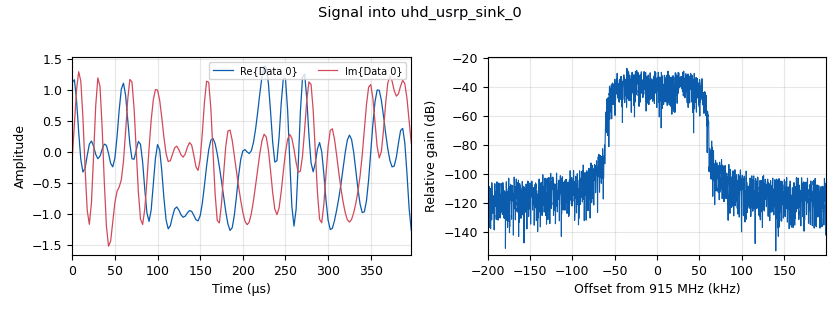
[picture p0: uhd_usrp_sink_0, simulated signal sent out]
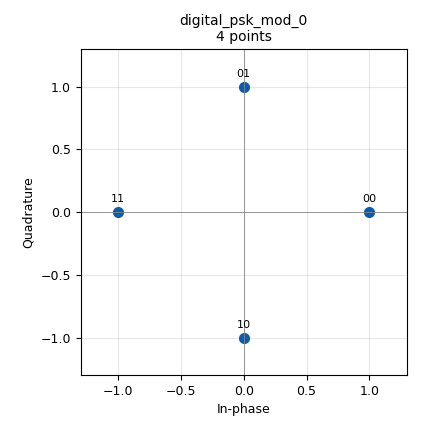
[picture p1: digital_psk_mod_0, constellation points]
<?xml version='1.0' encoding='utf-8'?>
<?grc format='1' created='3.7.11'?>
<flow_graph>
<block>
<key>options</key>
<param><key>id</key><value>energy_detector</value></param>
<param><key>generate_options</key><value>qt_gui</value></param>
</block>
<block>
<key>variable</key>
<param><key>id</key><value>addr_rx</value></param>
<param><key>value</key><value>"addr=192.168.10.3"</value></param>
</block>
<block>
<key>variable</key>
<param><key>id</key><value>addr_tx</value></param>
<param><key>value</key><value>"addr=192.168.10.3"</value></param>
</block>
<block>
<key>variable_qtgui_range</key>
<param><key>id</key><value>bin_size</value></param>
<param><key>value</key><value>10</value></param>
<param><key>label</key><value>Bin</value></param>
<param><key>orient</key><value>Qt.Horizontal</value></param>
<param><key>start</key><value>3</value></param>
<param><key>step</key><value>1</value></param>
<param><key>stop</key><value>50</value></param>
<param><key>rangeType</key><value>int</value></param>
</block>
<block>
<key>variable</key>
<param><key>id</key><value>cent</value></param>
<param><key>value</key><value>915e6</value></param>
</block>
<block>
<key>variable_qtgui_range</key>
<param><key>id</key><value>freq</value></param>
<param><key>value</key><value>cent</value></param>
<param><key>label</key><value>Carrier Frequency</value></param>
<param><key>orient</key><value>Qt.Horizontal</value></param>
<param><key>start</key><value>cent-0.5*samp_rate</value></param>
<param><key>step</key><value>samp_rate/200</value></param>
<param><key>stop</key><value>cent+0.5*samp_rate</value></param>
</block>
<block>
<key>variable</key>
<param><key>id</key><value>samp_rate</value></param>
<param><key>value</key><value>400000</value></param>
</block>
<block>
<key>variable</key>
<param><key>id</key><value>thres</value></param>
<param><key>value</key><value>-30</value></param>
</block>
<block>
<key>variable_qtgui_range</key>
<param><key>id</key><value>tx_gain</value></param>
<param><key>value</key><value>0</value></param>
<param><key>label</key><value>TX Gain</value></param>
<param><key>orient</key><value>Qt.Horizontal</value></param>
<param><key>start</key><value>0</value></param>
<param><key>step</key><value>0.1</value></param>
<param><key>stop</key><value>20</value></param>
</block>
<block>
<key>analog_random_source_x</key>
<param><key>id</key><value>analog_random_source_x_0</value></param>
<param><key>_enabled</key><value>0</value></param>
<param><key>max</key><value>256</value></param>
<param><key>min</key><value>0</value></param>
<param><key>num_samps</key><value>100</value></param>
<param><key>type</key><value>byte</value></param>
<param><key>repeat</key><value>True</value></param>
</block>
<block>
<key>blocks_message_strobe_random</key>
<param><key>id</key><value>blocks_message_strobe_random_0</value></param>
<param><key>dist</key><value>blocks.STROBE_POISSON</value></param>
<param><key>mean</key><value>1000</value></param>
<param><key>msg</key><value>pmt.intern("TEST")</value></param>
</block>
<block>
<key>blocks_pdu_to_tagged_stream</key>
<param><key>id</key><value>blocks_pdu_to_tagged_stream_0</value></param>
<param><key>type</key><value>byte</value></param>
<param><key>tag</key><value>packet_len</value></param>
</block>
<block>
<key>blocks_random_pdu</key>
<param><key>id</key><value>blocks_random_pdu_0</value></param>
<param><key>mask</key><value>0xFF</value></param>
<param><key>length_modulo</key><value>1</value></param>
<param><key>maxsize</key><value>50</value></param>
<param><key>minsize</key><value>10</value></param>
</block>
<block>
<key>blocks_tag_debug</key>
<param><key>id</key><value>blocks_tag_debug_0</value></param>
<param><key>type</key><value>float</value></param>
<param><key>filter</key><value>"sensing"</value></param>
<param><key>name</key><value>Energy abs</value></param>
</block>
<block>
<key>blocks_tag_debug</key>
<param><key>id</key><value>blocks_tag_debug_1</value></param>
<param><key>type</key><value>complex</value></param>
<param><key>filter</key><value>"state"</value></param>
<param><key>name</key><value>ED state</value></param>
</block>
<block>
<key>digital_psk_mod</key>
<param><key>id</key><value>digital_psk_mod_0</value></param>
<param><key>differential</key><value>False</value></param>
<param><key>excess_bw</key><value>0.22</value></param>
<param><key>mod_code</key><value>"gray"</value></param>
<param><key>constellation_points</key><value>4</value></param>
<param><key>samples_per_symbol</key><value>4</value></param>
</block>
<block>
<key>lsa_eng_det_cc</key>
<param><key>id</key><value>lsa_eng_det_cc_0</value></param>
<param><key>bin</key><value>bin_size</value></param>
<param><key>threshold</key><value>thres</value></param>
</block>
<block>
<key>qtgui_const_sink_x</key>
<param><key>id</key><value>qtgui_const_sink_x_0</value></param>
<param><key>gui_hint</key><value>rx_tab@0</value></param>
<param><key>size</key><value>1024</value></param>
<param><key>type</key><value>complex</value></param>
</block>
<block>
<key>qtgui_time_sink_x</key>
<param><key>id</key><value>qtgui_time_sink_x_0</value></param>
<param><key>gui_hint</key><value>rx_tab@1</value></param>
<param><key>color1</key><value>"blue"</value></param>
<param><key>label1</key><value></value></param>
<param><key>color2</key><value>"red"</value></param>
<param><key>label2</key><value></value></param>
<param><key>size</key><value>2048</value></param>
<param><key>srate</key><value>samp_rate</value></param>
<param><key>type</key><value>complex</value></param>
<param><key>ymax</key><value>0</value></param>
<param><key>ymin</key><value>-80</value></param>
</block>
<block>
<key>qtgui_tab_widget</key>
<param><key>id</key><value>rx_tab</value></param>
<param><key>label0</key><value>Constellation</value></param>
<param><key>label1</key><value>Energy</value></param>
<param><key>num_tabs</key><value>2</value></param>
</block>
<block>
<key>uhd_usrp_sink</key>
<param><key>id</key><value>uhd_usrp_sink_0</value></param>
<param><key>ant0</key><value>TX/RX</value></param>
<param><key>center_freq0</key><value>freq</value></param>
<param><key>norm_gain0</key><value>False</value></param>
<param><key>gain0</key><value>0</value></param>
<param><key>clock_rate</key><value>0.0</value></param>
<param><key>dev_addr</key><value>addr_tx</value></param>
<param><key>dev_args</key><value>""</value></param>
<param><key>type</key><value>fc32</value></param>
<param><key>clock_source0</key><value>internal</value></param>
<param><key>sd_spec0</key><value>A:0</value></param>
<param><key>samp_rate</key><value>samp_rate</value></param>
<param><key>hide_cmd_port</key><value>False</value></param>
<param><key>hide_lo_controls</key><value>True</value></param>
<param><key>sync</key><value></value></param>
<param><key>len_tag_name</key><value></value></param>
</block>
<block>
<key>uhd_usrp_source</key>
<param><key>id</key><value>uhd_usrp_source_0</value></param>
<param><key>ant0</key><value>RX2</value></param>
<param><key>center_freq0</key><value>freq</value></param>
<param><key>dc_offs_enb0</key><value>""</value></param>
<param><key>iq_imbal_enb0</key><value>""</value></param>
<param><key>norm_gain0</key><value>False</value></param>
<param><key>gain0</key><value>tx_gain</value></param>
<param><key>clock_rate</key><value>0.0</value></param>
<param><key>dev_addr</key><value>addr_rx</value></param>
<param><key>dev_args</key><value>""</value></param>
<param><key>sd_spec0</key><value>A:0</value></param>
<param><key>type</key><value>fc32</value></param>
<param><key>samp_rate</key><value>samp_rate</value></param>
<param><key>hide_cmd_port</key><value>False</value></param>
<param><key>hide_lo_controls</key><value>True</value></param>
<param><key>sync</key><value></value></param>
</block>
<connection><source_block_id>analog_random_source_x_0</source_block_id><sink_block_id>digital_psk_mod_0</sink_block_id><source_key>0</source_key><sink_key>0</sink_key></connection>
<connection><source_block_id>blocks_message_strobe_random_0</source_block_id><sink_block_id>blocks_random_pdu_0</sink_block_id><source_key>strobe</source_key><sink_key>generate</sink_key></connection>
<connection><source_block_id>blocks_pdu_to_tagged_stream_0</source_block_id><sink_block_id>digital_psk_mod_0</sink_block_id><source_key>0</source_key><sink_key>0</sink_key></connection>
<connection><source_block_id>blocks_random_pdu_0</source_block_id><sink_block_id>blocks_pdu_to_tagged_stream_0</sink_block_id><source_key>pdus</source_key><sink_key>pdus</sink_key></connection>
<connection><source_block_id>digital_psk_mod_0</source_block_id><sink_block_id>uhd_usrp_sink_0</sink_block_id><source_key>0</source_key><sink_key>0</sink_key></connection>
<connection><source_block_id>lsa_eng_det_cc_0</source_block_id><sink_block_id>blocks_tag_debug_0</sink_block_id><source_key>1</source_key><sink_key>0</sink_key></connection>
<connection><source_block_id>lsa_eng_det_cc_0</source_block_id><sink_block_id>blocks_tag_debug_1</sink_block_id><source_key>0</source_key><sink_key>0</sink_key></connection>
<connection><source_block_id>lsa_eng_det_cc_0</source_block_id><sink_block_id>qtgui_time_sink_x_0</sink_block_id><source_key>0</source_key><sink_key>0</sink_key></connection>
<connection><source_block_id>uhd_usrp_source_0</source_block_id><sink_block_id>lsa_eng_det_cc_0</sink_block_id><source_key>0</source_key><sink_key>0</sink_key></connection>
<connection><source_block_id>uhd_usrp_source_0</source_block_id><sink_block_id>qtgui_const_sink_x_0</sink_block_id><source_key>0</source_key><sink_key>0</sink_key></connection>
</flow_graph>
